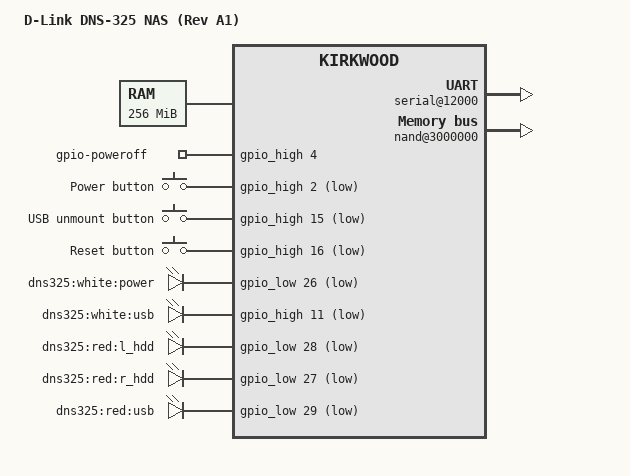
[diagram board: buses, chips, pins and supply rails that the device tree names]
/dts-v1/;

/include/ "kirkwood.dtsi"

/ {
	model = "D-Link DNS-325 NAS (Rev A1)";
	compatible = "dlink,dns-325-a1", "dlink,dns-325", "dlink,dns-kirkwood", "mrvl,kirkwood-88f6281", "mrvl,kirkwood";

	memory {
		device_type = "memory";
		reg = <0x00000000 0x10000000>;
	};

	chosen {
		bootargs = "console=ttyS0,115200n8 earlyprintk";
	};

	gpio-poweroff {
		compatible = "gpio-poweroff";
		gpios = <&gpio_high 4 0>; /* GPIO 36 Active High */
	};

	gpio-keys {
		compatible = "gpio-keys";
		power {
			label = "Power button";
			gpios = <&gpio_high 2 1>; /* GPIO 34 Active Low */
			linux,code = <116>; /* KEY_POWER */
			gpio-key,wakeup;
		};
		usb-unmount {
			label = "USB unmount button";
			gpios = <&gpio_high 15 1>; /* GPIO 47 Active Low */
			linux,code = <161>; /* KEY_EJECTCD */
			gpio-key,wakeup;
		};
		reset {
			label = "Reset button";
			gpios = <&gpio_high 16 1>; /* GPIO 48 Active Low */
			linux,code = <408>; /* KEY_RESTART */
			gpio-key,wakeup;
		};
	};

	gpio-leds {
		compatible = "gpio-leds";
		white-power {
			label = "dns325:white:power";
			gpios = <&gpio_low 26 1>; /* GPIO 26 Active Low */
			linux,default-trigger = "default-on";
		};
		white-usb {
			label = "dns325:white:usb";
			gpios = <&gpio_high 11 1>; /* GPIO 43 Active Low */
		};
		red-l_hdd {
			label = "dns325:red:l_hdd";
			gpios = <&gpio_low 28 1>; /* GPIO 28 Active Low */
		};
		red-r_hdd {
			label = "dns325:red:r_hdd";
			gpios = <&gpio_low 27 1>; /* GPIO 27 Active Low */
		};
		red-usb {
			label = "dns325:red:usb";
			gpios = <&gpio_low 29 1>; /* GPIO 29 Active Low */
		};
	};

	ocp@f1000000 {
		serial@12000 {
			clock-frequency = <200000000>;
			status = "okay";
		};

		nand@3000000 {
			status = "okay";

			partition@0 {
				label = "u-boot";
				reg = <0x0000000 0x100000>;
				read-only;
			};

			partition@100000 {
				label = "uImage";
				reg = <0x0100000 0x500000>;
			};

			partition@600000 {
				label = "ramdisk";
				reg = <0x0600000 0x500000>;
			};

			partition@b00000 {
				label = "image";
				reg = <0x0b00000 0x6600000>;
			};

			partition@7100000 {
				label = "mini firmware";
				reg = <0x7100000 0xa00000>;
			};

			partition@7b00000 {
				label = "config";
				reg = <0x7b00000 0x500000>;
			};
		};
	};
};
